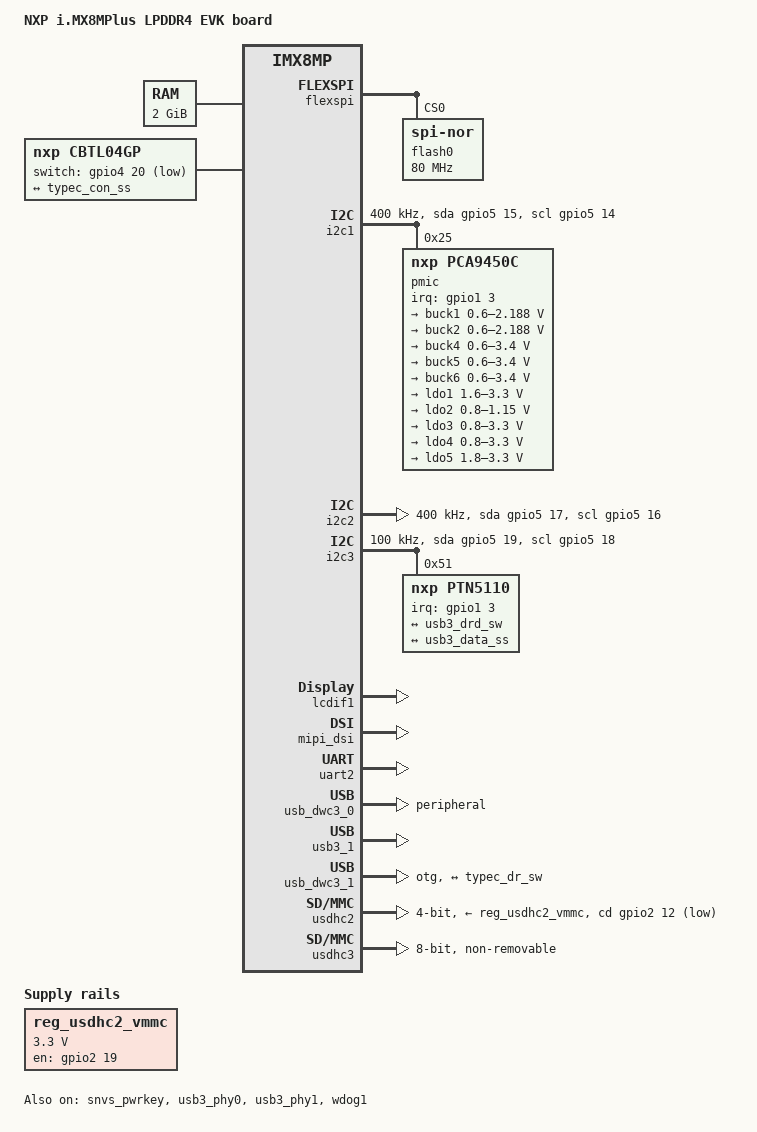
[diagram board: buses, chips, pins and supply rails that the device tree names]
// SPDX-License-Identifier: (GPL-2.0+ OR MIT)
/*
 * Copyright 2019 NXP
 */

/dts-v1/;

#include <dt-bindings/usb/pd.h>
#include "imx8mp.dtsi"

/ {
	model = "NXP i.MX8MPlus LPDDR4 EVK board";
	compatible = "fsl,imx8mp-evk", "fsl,imx8mp";

	chosen {
		bootargs = "console=ttymxc1,115200 earlycon=ec_imx6q,0x30890000,115200";
		stdout-path = &uart2;
	};

	memory@40000000 {
		device_type = "memory";
		reg = <0x0 0x40000000 0 0x80000000>;
		//      <0x1 0x00000000 0 0x80000000>;
	};

	reg_usdhc2_vmmc: regulator-usdhc2 {
		compatible = "regulator-fixed";
		pinctrl-names = "default";
		pinctrl-0 = <&pinctrl_reg_usdhc2_vmmc>;
		regulator-name = "VSD_3V3";
		regulator-min-microvolt = <3300000>;
		regulator-max-microvolt = <3300000>;
		gpio = <&gpio2 19 GPIO_ACTIVE_HIGH>;
		enable-active-high;
		startup-delay-us = <100>;
		off-on-delay-us = <12000>;
	};

	dsi_host: dsi-host {
		compatible = "samsung,sec-mipi-dsi";
		status = "okay";
	};

	cbtl04gp {
		compatible = "nxp,cbtl04gp";
		pinctrl-names = "default";
		pinctrl-0 = <&pinctrl_typec_mux>;
		switch-gpios = <&gpio4 20 GPIO_ACTIVE_LOW>;
		orientation-switch;

		port {
			usb3_data_ss: endpoint {
				remote-endpoint = <&typec_con_ss>;
			};
		};
	};
};


&A53_0 {
	cpu-supply = <&buck2>;
};

&A53_1 {
	cpu-supply = <&buck2>;
};

&A53_2 {
	cpu-supply = <&buck2>;
};

&A53_3 {
	cpu-supply = <&buck2>;
};

 &flexspi {
 	pinctrl-names = "default";
 	pinctrl-0 = <&pinctrl_flexspi0>;
 	status = "okay";

 	flash0: flash@0 {
 		reg = <0>;
 		#address-cells = <1>;
 		#size-cells = <1>;
		compatible = "jedec,spi-nor";
 		spi-max-frequency = <80000000>;
 		spi-tx-bus-width = <4>;
 		spi-rx-bus-width = <4>;
 	};
 };

&i2c1 {
	clock-frequency = <400000>;
	pinctrl-names = "default", "gpio";
	pinctrl-0 = <&pinctrl_i2c1>;
	pinctrl-1 = <&pinctrl_i2c1_gpio>;
	scl-gpios = <&gpio5 14 GPIO_ACTIVE_HIGH>;
	sda-gpios = <&gpio5 15 GPIO_ACTIVE_HIGH>;
	status = "okay";

	pmic@25 {
		compatible = "nxp,pca9450c";
		reg = <0x25>;
		/* PMIC PCA9450 PMIC_nINT GPIO1_IO3 */
		pinctrl-names = "default";
		pinctrl-0 = <&pinctrl_pmic>;
		interrupt-parent = <&gpio1>;
		interrupts = <3 IRQ_TYPE_LEVEL_LOW>;

		regulators {
			buck1: BUCK1 {
				regulator-name = "BUCK1";
				regulator-min-microvolt = <600000>;
				regulator-max-microvolt = <2187500>;
				regulator-boot-on;
				regulator-always-on;
				regulator-ramp-delay = <3125>;
			};

			buck2: BUCK2 {
				regulator-name = "BUCK2";
				regulator-min-microvolt = <600000>;
				regulator-max-microvolt = <2187500>;
				regulator-boot-on;
				regulator-always-on;
				regulator-ramp-delay = <3125>;
				nxp,dvs-run-voltage = <950000>;
				nxp,dvs-standby-voltage = <850000>;
			};

			buck4: BUCK4{
				regulator-name = "BUCK4";
				regulator-min-microvolt = <600000>;
				regulator-max-microvolt = <3400000>;
				regulator-boot-on;
				regulator-always-on;
			};

			buck5: BUCK5{
				regulator-name = "BUCK5";
				regulator-min-microvolt = <600000>;
				regulator-max-microvolt = <3400000>;
				regulator-boot-on;
				regulator-always-on;
			};

			buck6: BUCK6 {
				regulator-name = "BUCK6";
				regulator-min-microvolt = <600000>;
				regulator-max-microvolt = <3400000>;
				regulator-boot-on;
				regulator-always-on;
			};

			ldo1: LDO1 {
				regulator-name = "LDO1";
				regulator-min-microvolt = <1600000>;
				regulator-max-microvolt = <3300000>;
				regulator-boot-on;
				regulator-always-on;
			};

			ldo2: LDO2 {
				regulator-name = "LDO2";
				regulator-min-microvolt = <800000>;
				regulator-max-microvolt = <1150000>;
				regulator-boot-on;
				regulator-always-on;
			};

			ldo3: LDO3 {
				regulator-name = "LDO3";
				regulator-min-microvolt = <800000>;
				regulator-max-microvolt = <3300000>;
				regulator-boot-on;
				regulator-always-on;
			};

			ldo4: LDO4 {
				regulator-name = "LDO4";
				regulator-min-microvolt = <800000>;
				regulator-max-microvolt = <3300000>;
				regulator-boot-on;
				regulator-always-on;
			};

			ldo5: LDO5 {
				regulator-name = "LDO5";
				regulator-min-microvolt = <1800000>;
				regulator-max-microvolt = <3300000>;
				regulator-boot-on;
				regulator-always-on;
			};
		};
	};
};

&i2c2 {
	clock-frequency = <400000>;
	pinctrl-names = "default", "gpio";
	pinctrl-0 = <&pinctrl_i2c2>;
	pinctrl-1 = <&pinctrl_i2c2_gpio>;
	scl-gpios = <&gpio5 16 GPIO_ACTIVE_HIGH>;
	sda-gpios = <&gpio5 17 GPIO_ACTIVE_HIGH>;
	status = "okay";

};

&i2c3 {
	clock-frequency = <100000>;
	pinctrl-names = "default", "gpio";
	pinctrl-0 = <&pinctrl_i2c3>;
	pinctrl-1 = <&pinctrl_i2c3_gpio>;
	scl-gpios = <&gpio5 18 GPIO_ACTIVE_HIGH>;
	sda-gpios = <&gpio5 19 GPIO_ACTIVE_HIGH>;
	status = "okay";

	 ptn5110: tcpc@51 {
	 	compatible = "nxp,ptn5110";
	 	pinctrl-names = "default";
	 	pinctrl-0 = <&pinctrl_typec>;
	 	reg = <0x51>;
	 	interrupt-parent = <&gpio1>;
	 	interrupts = <3 8>;

	 	port {
	 		typec_dr_sw: endpoint {
	 			remote-endpoint = <&usb3_drd_sw>;
	 		};
	 	};
	 	usb_con: connector {
	 		compatible = "usb-c-connector";
	 		label = "USB-C";
	 		power-role = "dual";
	 		data-role = "dual";
	 		try-power-role = "sink";
	 		source-pdos = <PDO_FIXED(5000, 3000, PDO_FIXED_USB_COMM)>;
	 	//	sink-pdos = <PDO_FIXED(5000, 3000, PDO_FIXED_USB_COMM)
	 	//		     PDO_VAR(5000, 20000, 3000)>;
	 	//	op-sink-microwatt = <15000000>;
	 		self-powered;

	 		ports {
	 			#address-cells = <1>;
	 			#size-cells = <0>;
	 			port@1 {
	 				reg = <1>;
	 				typec_con_ss: endpoint {
	 					remote-endpoint = <&usb3_data_ss>;
	 				};
	 			};
	 		};
	 	};
	 };
};

&lcdif1 {
	status = "okay";
};

&mipi_dsi {
	status = "okay";
};

&snvs_pwrkey {
	status = "okay";
};

&uart2 {
	/* console */
	pinctrl-names = "default";
	pinctrl-0 = <&pinctrl_uart2>;
	status = "okay";
};

&usb3_phy0 {
	status = "okay";
};

&usb_dwc3_0 {
	adp-disable;
	dr_mode = "peripheral";
	hnp-disable;
	srp-disable;
	status = "okay";
};

&usb3_phy1 {
	vbus-power-supply = <&ptn5110>;
	fsl,phy-tx-vref-tune = <0xe>;
	fsl,phy-tx-preemp-amp-tune = <3>;
	fsl,phy-tx-vboost-level = <5>;
	fsl,phy-comp-dis-tune = <7>;
	fsl,pcs-tx-deemph-3p5db = <0x21>;
	fsl,phy-pcs-tx-swing-full = <0x7f>;
	status = "okay";
};

&usb3_1 {
	status = "okay";
};

&usb_dwc3_1 {
	dr_mode = "otg";
	hnp-disable;
	srp-disable;
	adp-disable;
	usb-role-switch;
	role-switch-default-mode = "none";
	status = "okay";

	port {
		usb3_drd_sw: endpoint {
			remote-endpoint = <&typec_dr_sw>;
		};
	};
};

&usdhc2 {
	assigned-clocks = <&clk IMX8MP_CLK_USDHC2>;
	assigned-clock-rates = <400000000>;
	pinctrl-names = "default", "state_100mhz", "state_200mhz";
	pinctrl-0 = <&pinctrl_usdhc2>, <&pinctrl_usdhc2_gpio>;
	pinctrl-1 = <&pinctrl_usdhc2_100mhz>, <&pinctrl_usdhc2_gpio>;
	pinctrl-2 = <&pinctrl_usdhc2_200mhz>, <&pinctrl_usdhc2_gpio>;
	cd-gpios = <&gpio2 12 GPIO_ACTIVE_LOW>;
	vmmc-supply = <&reg_usdhc2_vmmc>;
	bus-width = <4>;
	no-1-8-v;
	status = "okay";
};

&usdhc3 {
	assigned-clocks = <&clk IMX8MP_CLK_USDHC3>;
	assigned-clock-rates = <400000000>;
	pinctrl-names = "default", "state_100mhz", "state_200mhz";
	pinctrl-0 = <&pinctrl_usdhc3>;
	pinctrl-1 = <&pinctrl_usdhc3_100mhz>;
	pinctrl-2 = <&pinctrl_usdhc3_200mhz>;
	bus-width = <8>;
	non-removable;
	status = "okay";
};

&wdog1 {
	pinctrl-names = "default";
	pinctrl-0 = <&pinctrl_wdog>;
	fsl,ext-reset-output;
	status = "okay";
};

&iomuxc {

	pinctrl_flexspi0: flexspi0grp {
		fsl,pins = <
			MX8MP_IOMUXC_NAND_ALE__FLEXSPI_A_SCLK		0x1c2
			MX8MP_IOMUXC_NAND_CE0_B__FLEXSPI_A_SS0_B	0x82
			MX8MP_IOMUXC_NAND_DATA00__FLEXSPI_A_DATA00	0x82
			MX8MP_IOMUXC_NAND_DATA01__FLEXSPI_A_DATA01	0x82
			MX8MP_IOMUXC_NAND_DATA02__FLEXSPI_A_DATA02	0x82
			MX8MP_IOMUXC_NAND_DATA03__FLEXSPI_A_DATA03	0x82
		>;
	};

	pinctrl_i2c1: i2c1grp {
		fsl,pins = <
			MX8MP_IOMUXC_I2C1_SCL__I2C1_SCL		0x400001c2
			MX8MP_IOMUXC_I2C1_SDA__I2C1_SDA		0x400001c2
		>;
	};

	pinctrl_i2c2: i2c2grp {
		fsl,pins = <
			MX8MP_IOMUXC_I2C2_SCL__I2C2_SCL		0x400001c2
			MX8MP_IOMUXC_I2C2_SDA__I2C2_SDA		0x400001c2
		>;
	};

	pinctrl_i2c3: i2c3grp {
		fsl,pins = <
			MX8MP_IOMUXC_I2C3_SCL__I2C3_SCL		0x400001c2
			MX8MP_IOMUXC_I2C3_SDA__I2C3_SDA		0x400001c2
		>;
	};

	pinctrl_i2c1_gpio: i2c1gpiogrp {
		fsl,pins = <
			MX8MP_IOMUXC_I2C1_SCL__GPIO5_IO14        	0x1c3
			MX8MP_IOMUXC_I2C1_SDA__GPIO5_IO15        	0x1c3
		>;
	};

	pinctrl_i2c2_gpio: i2c2gpiogrp {
		fsl,pins = <
			MX8MP_IOMUXC_I2C2_SCL__GPIO5_IO16        	0x1c3
			MX8MP_IOMUXC_I2C2_SDA__GPIO5_IO17        	0x1c3
		>;
	};

	pinctrl_i2c3_gpio: i2c3gpiogrp {
		fsl,pins = <
			MX8MP_IOMUXC_I2C3_SCL__GPIO5_IO18        	0x1c3
			MX8MP_IOMUXC_I2C3_SDA__GPIO5_IO19        	0x1c3
		>;
	};

	pinctrl_mipi_dsi_en: mipidsiengrp {
		fsl,pins = <
			MX8MP_IOMUXC_GPIO1_IO08__GPIO1_IO08	0x16
		>;
	};

	pinctrl_pmic: pmicirqgrp {
		fsl,pins = <
			MX8MP_IOMUXC_GPIO1_IO03__GPIO1_IO03	0x000001c0
		>;
	};

	 pinctrl_typec: typec1grp {
	 	fsl,pins = <
	 		MX8MP_IOMUXC_GPIO1_IO03__GPIO1_IO03	0x1c4
	 	>;
	};

	pinctrl_typec_mux: typec1muxgrp {
		fsl,pins = <
			MX8MP_IOMUXC_SAI1_MCLK__GPIO4_IO20	0x16
		>;
	};

	pinctrl_reg_usdhc2_vmmc: regusdhc2vmmcgrp {
		fsl,pins = <
			MX8MP_IOMUXC_SD2_RESET_B__GPIO2_IO19	0x41
		>;
	};

	pinctrl_uart2: uart2grp {
		fsl,pins = <
			MX8MP_IOMUXC_UART2_RXD__UART2_DCE_RX	0x140
			MX8MP_IOMUXC_UART2_TXD__UART2_DCE_TX	0x140
		>;
	};

	pinctrl_usb0_vbus: usb0grp {
		fsl,pins = <
			MX8MP_IOMUXC_GPIO1_IO12__GPIO1_IO12	0x19
		>;
	};

	pinctrl_usb1_vbus: usb0grp {
		fsl,pins = <
			MX8MP_IOMUXC_GPIO1_IO14__USB2_PWR	0x10
		>;
	};

	pinctrl_usdhc2: usdhc2grp {
		fsl,pins = <
			MX8MP_IOMUXC_SD2_CLK__USDHC2_CLK	0x190
			MX8MP_IOMUXC_SD2_CMD__USDHC2_CMD	0x1d0
			MX8MP_IOMUXC_SD2_DATA0__USDHC2_DATA0	0x1d0
			MX8MP_IOMUXC_SD2_DATA1__USDHC2_DATA1	0x1d0
			MX8MP_IOMUXC_SD2_DATA2__USDHC2_DATA2	0x1d0
			MX8MP_IOMUXC_SD2_DATA3__USDHC2_DATA3	0x1d0
			MX8MP_IOMUXC_GPIO1_IO04__USDHC2_VSELECT	0xc0
		>;
	};

	pinctrl_usdhc2_100mhz: usdhc2-100mhzgrp {
		fsl,pins = <
			MX8MP_IOMUXC_SD2_CLK__USDHC2_CLK	0x194
			MX8MP_IOMUXC_SD2_CMD__USDHC2_CMD	0x1d4
			MX8MP_IOMUXC_SD2_DATA0__USDHC2_DATA0	0x1d4
			MX8MP_IOMUXC_SD2_DATA1__USDHC2_DATA1	0x1d4
			MX8MP_IOMUXC_SD2_DATA2__USDHC2_DATA2	0x1d4
			MX8MP_IOMUXC_SD2_DATA3__USDHC2_DATA3	0x1d4
			MX8MP_IOMUXC_GPIO1_IO04__USDHC2_VSELECT 0xc0
		>;
	};

	pinctrl_usdhc2_200mhz: usdhc2-200mhzgrp {
		fsl,pins = <
			MX8MP_IOMUXC_SD2_CLK__USDHC2_CLK	0x196
			MX8MP_IOMUXC_SD2_CMD__USDHC2_CMD	0x1d6
			MX8MP_IOMUXC_SD2_DATA0__USDHC2_DATA0	0x1d6
			MX8MP_IOMUXC_SD2_DATA1__USDHC2_DATA1	0x1d6
			MX8MP_IOMUXC_SD2_DATA2__USDHC2_DATA2	0x1d6
			MX8MP_IOMUXC_SD2_DATA3__USDHC2_DATA3	0x1d6
			MX8MP_IOMUXC_GPIO1_IO04__USDHC2_VSELECT 0xc0
		>;
	};

	pinctrl_usdhc2_gpio: usdhc2gpiogrp {
		fsl,pins = <
			MX8MP_IOMUXC_SD2_CD_B__GPIO2_IO12	0x1c4
		>;
	};

	pinctrl_usdhc3: usdhc3grp {
		fsl,pins = <
			MX8MP_IOMUXC_NAND_WE_B__USDHC3_CLK	0x190
			MX8MP_IOMUXC_NAND_WP_B__USDHC3_CMD	0x1d0
			MX8MP_IOMUXC_NAND_DATA04__USDHC3_DATA0	0x1d0
			MX8MP_IOMUXC_NAND_DATA05__USDHC3_DATA1	0x1d0
			MX8MP_IOMUXC_NAND_DATA06__USDHC3_DATA2	0x1d0
			MX8MP_IOMUXC_NAND_DATA07__USDHC3_DATA3	0x1d0
			MX8MP_IOMUXC_NAND_RE_B__USDHC3_DATA4	0x1d0
			MX8MP_IOMUXC_NAND_CE2_B__USDHC3_DATA5	0x1d0
			MX8MP_IOMUXC_NAND_CE3_B__USDHC3_DATA6	0x1d0
			MX8MP_IOMUXC_NAND_CLE__USDHC3_DATA7	0x1d0
			MX8MP_IOMUXC_NAND_CE1_B__USDHC3_STROBE	0x190
		>;
	};

	pinctrl_usdhc3_100mhz: usdhc3-100mhzgrp {
		fsl,pins = <
			MX8MP_IOMUXC_NAND_WE_B__USDHC3_CLK	0x194
			MX8MP_IOMUXC_NAND_WP_B__USDHC3_CMD	0x1d4
			MX8MP_IOMUXC_NAND_DATA04__USDHC3_DATA0	0x1d4
			MX8MP_IOMUXC_NAND_DATA05__USDHC3_DATA1	0x1d4
			MX8MP_IOMUXC_NAND_DATA06__USDHC3_DATA2	0x1d4
			MX8MP_IOMUXC_NAND_DATA07__USDHC3_DATA3	0x1d4
			MX8MP_IOMUXC_NAND_RE_B__USDHC3_DATA4	0x1d4
			MX8MP_IOMUXC_NAND_CE2_B__USDHC3_DATA5	0x1d4
			MX8MP_IOMUXC_NAND_CE3_B__USDHC3_DATA6	0x1d4
			MX8MP_IOMUXC_NAND_CLE__USDHC3_DATA7	0x1d4
			MX8MP_IOMUXC_NAND_CE1_B__USDHC3_STROBE	0x194
		>;
	};

	pinctrl_usdhc3_200mhz: usdhc3-200mhzgrp {
		fsl,pins = <
			MX8MP_IOMUXC_NAND_WE_B__USDHC3_CLK	0x196
			MX8MP_IOMUXC_NAND_WP_B__USDHC3_CMD	0x1d6
			MX8MP_IOMUXC_NAND_DATA04__USDHC3_DATA0	0x1d6
			MX8MP_IOMUXC_NAND_DATA05__USDHC3_DATA1	0x1d6
			MX8MP_IOMUXC_NAND_DATA06__USDHC3_DATA2	0x1d6
			MX8MP_IOMUXC_NAND_DATA07__USDHC3_DATA3	0x1d6
			MX8MP_IOMUXC_NAND_RE_B__USDHC3_DATA4	0x1d6
			MX8MP_IOMUXC_NAND_CE2_B__USDHC3_DATA5	0x1d6
			MX8MP_IOMUXC_NAND_CE3_B__USDHC3_DATA6	0x1d6
			MX8MP_IOMUXC_NAND_CLE__USDHC3_DATA7	0x1d6
			MX8MP_IOMUXC_NAND_CE1_B__USDHC3_STROBE	0x196
		>;
	};

	pinctrl_wdog: wdoggrp {
		fsl,pins = <
			MX8MP_IOMUXC_GPIO1_IO02__WDOG1_WDOG_B	0x166
		>;
	};
};
